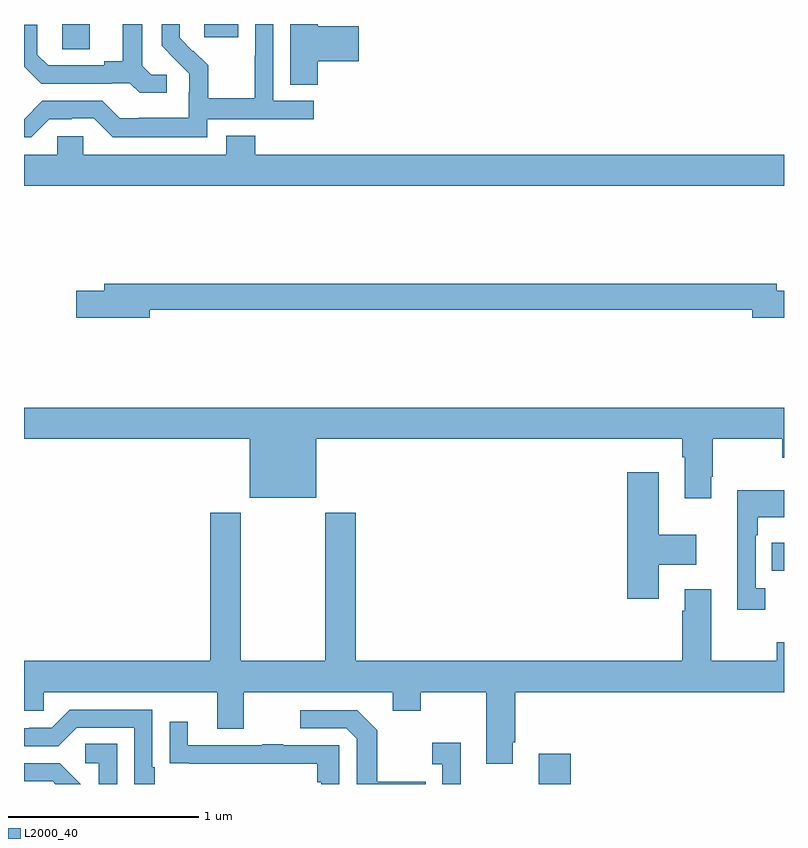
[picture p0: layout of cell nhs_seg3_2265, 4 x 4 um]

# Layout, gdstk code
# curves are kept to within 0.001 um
import gdstk
lib = gdstk.Library(unit=1e-6, precision=1e-09)
def R(c, l, rs):  # rectangles x0, y0, x1, y1
    for r in rs: c.add(gdstk.rectangle(r[:2], r[2:], *l))
def P(c, l, *ps):  # polygons
    for p in ps: c.add(gdstk.Polygon(p, *l))
L2000_40 = (2000, 40)

nhs_seg3_2265 = lib.new_cell('nhs_seg3_2265')
R(nhs_seg3_2265, L2000_40, [(229.709,732.4,229.877,732.559), (230.935,733.522,231,733.669), (227.202,736.267,227.347,736.4), (227.948,736.329,228.127,736.4)])
P(nhs_seg3_2265, L2000_40, [(228.545,736.205),(228.763,736.205),(228.763,736.388),(228.545,736.388),(228.545,736.4),(228.401,736.4),(228.401,736.081),(228.545,736.081)],
  [(227.752,736.134),(227.67,736.134),(227.623,736.181),(227.623,736.4),(227.519,736.4),(227.519,736.205),(227.423,736.205),(227.423,736.182),(227.128,736.182),(227.071,736.239),(227.071,736.396),(227,736.396),(227,736.176),(227.09,736.086),(227.462,736.086),(227.462,736.089),(227.556,736.089),(227.608,736.037),(227.752,736.037)],
  [(227.964,735.9),(228.526,735.9),(228.526,735.996),(228.312,735.996),(228.312,736.4),(228.216,736.4),(228.216,736.232),(228.214,736.232),(228.214,736.009),(227.969,736.009),(227.969,736.183),(227.892,736.26),(227.889,736.257),(227.819,736.328),(227.819,736.4),(227.724,736.4),(227.724,736.286),(227.87,736.138),(227.87,736.041),(227.868,736.041),(227.868,735.907),(227.605,735.907),(227.605,735.903),(227.505,735.903),(227.412,735.996),(227.097,735.996),(227,735.9),(227,735.804),(227.037,735.804),(227.133,735.9),(227.252,735.9),(227.252,735.903),(227.367,735.903),(227.467,735.803),(227.964,735.803)],
  [(231,735.712),(228.218,735.712),(228.218,735.811),(228.065,735.811),(228.065,735.712),(227.313,735.712),(227.313,735.81),(227.175,735.81),(227.175,735.712),(227,735.712),(227,735.548),(231,735.548)],
  [(227.662,734.896),(230.834,734.896),(230.834,734.854),(231,734.854),(231,734.996),(230.962,734.996),(230.962,735.032),(227.423,735.032),(227.423,734.996),(227.274,734.996),(227.274,734.854),(227.662,734.854)],
  [(230.617,734.017),(230.625,734.017),(230.625,734.216),(230.992,734.216),(230.992,734.117),(231,734.117),(231,734.38),(227,734.38),(227,734.216),(228.188,734.216),(228.188,733.907),(228.538,733.907),(228.538,734.216),(230.465,734.216),(230.465,734.12),(230.477,734.12),(230.477,733.905),(230.617,733.905)],
  [(230.341,733.553),(230.539,733.553),(230.539,733.711),(230.341,733.711),(230.341,734.041),(230.174,734.041),(230.174,733.374),(230.341,733.374)],
  [(230.902,733.43),(230.85,733.43),(230.85,733.709),(230.863,733.709),(230.863,733.805),(231,733.805),(231,733.945),(230.753,733.945),(230.753,733.317),(230.902,733.317)],
  [(229.573,732.619),(229.586,732.619),(229.586,732.884),(231,732.884),(231,733.147),(230.962,733.147),(230.962,733.048),(230.617,733.048),(230.617,733.426),(230.477,733.426),(230.477,733.313),(230.465,733.313),(230.465,733.048),(228.746,733.048),(228.746,733.828),(228.586,733.828),(228.586,733.048),(228.141,733.048),(228.141,733.828),(227.981,733.828),(227.981,733.048),(227,733.048),(227,732.786),(227.103,732.786),(227.103,732.884),(228.017,732.884),(228.017,732.69),(228.157,732.69),(228.157,732.884),(228.941,732.884),(228.941,732.785),(229.089,732.785),(229.089,732.884),(229.433,732.884),(229.433,732.507),(229.573,732.507)],
  [(227.689,732.487),(227.676,732.487),(227.676,732.792),(227.241,732.792),(227.145,732.696),(227.027,732.696),(227.027,732.693),(227,732.693),(227,732.6),(227.181,732.6),(227.277,732.696),(227.58,732.696),(227.58,732.4),(227.689,732.4)],
  [(229.115,732.411),(228.859,732.411),(228.859,732.683),(228.753,732.789),(228.453,732.789),(228.453,732.693),(228.696,732.693),(228.75,732.639),(228.75,732.4),(229.115,732.4)],
  [(228.66,732.603),(228.365,732.603),(228.365,732.608),(228.253,732.608),(228.253,732.603),(227.863,732.603),(227.863,732.727),(227.767,732.727),(227.767,732.508),(227.869,732.508),(227.869,732.507),(228.544,732.507),(228.544,732.41),(228.564,732.41),(228.564,732.4),(228.66,732.4)],
  [(229.298,732.616),(229.149,732.616),(229.149,732.503),(229.2,732.503),(229.2,732.4),(229.298,732.4)],
  [(227.49,732.611),(227.322,732.611),(227.322,732.51),(227.394,732.51),(227.394,732.4),(227.49,732.4)],
  [(227.188,732.51),(227,732.51),(227,732.414),(227.15,732.414),(227.164,732.4),(227.298,732.4)])

lib.write_gds('nhs_seg3_2265.gds')
